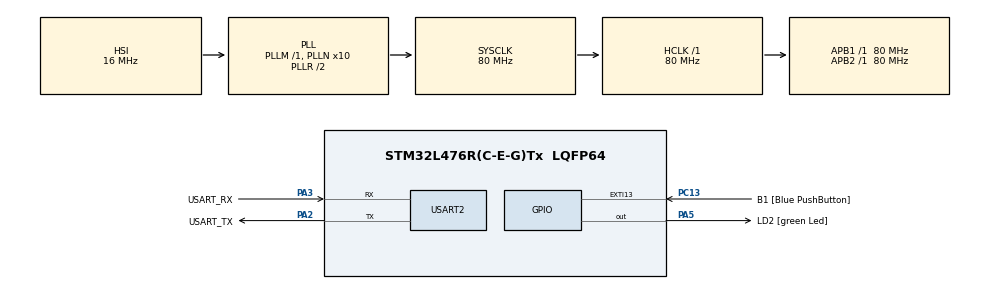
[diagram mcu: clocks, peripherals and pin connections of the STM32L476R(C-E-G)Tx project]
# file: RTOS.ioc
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FREERTOS.Tasks01=defaultTask,8,128,StartDefaultTask,Default,NULL,Dynamic,NULL,NULL;Blink1Task,24,128,Blink1,Default,NULL,Dynamic,NULL,NULL;TriggTask,40,128,Trigg,Default,NULL,Dynamic,NULL,NULL;UserbuttonTask,40,128,Userbutton,Default,NULL,Dynamic,NULL,NULL
FREERTOS.configTOTAL_HEAP_SIZE=4000
FREERTOS.configUSE_NEWLIB_REENTRANT=1
Mcu.Family=STM32L4
Mcu.Name=STM32L476R(C-E-G)Tx
Mcu.Package=LQFP64
NVIC.PriorityGroup=NVIC_PRIORITYGROUP_4
NVIC.TIM1_UP_TIM16_IRQn=true\:15\:0\:false\:false\:true\:false\:false\:true\:true
NVIC.TimeBase=TIM1_UP_TIM16_IRQn
NVIC.TimeBaseIP=TIM1
PA13\ (JTMS-SWDIO).GPIO_Label=TMS
PA13\ (JTMS-SWDIO).Mode=Serial_Wire
PA13\ (JTMS-SWDIO).Signal=SYS_JTMS-SWDIO
PA14\ (JTCK-SWCLK).GPIO_Label=TCK
PA14\ (JTCK-SWCLK).Mode=Serial_Wire
PA14\ (JTCK-SWCLK).Signal=SYS_JTCK-SWCLK
PA2.GPIO_Label=USART_TX
PA2.GPIO_Mode=GPIO_MODE_AF_PP
PA2.GPIO_PuPd=GPIO_NOPULL
PA2.GPIO_Speed=GPIO_SPEED_FREQ_VERY_HIGH
PA2.Mode=Asynchronous
PA2.Signal=USART2_TX
PA3.GPIO_Label=USART_RX
PA3.GPIO_Mode=GPIO_MODE_AF_PP
PA3.GPIO_PuPd=GPIO_NOPULL
PA3.GPIO_Speed=GPIO_SPEED_FREQ_VERY_HIGH
PA3.Mode=Asynchronous
PA3.Signal=USART2_RX
PA5.GPIO_Label=LD2 [green Led]
PA5.GPIO_ModeDefaultOutputPP=GPIO_MODE_OUTPUT_PP
PA5.GPIO_PuPd=GPIO_NOPULL
PA5.GPIO_Speed=GPIO_SPEED_FREQ_LOW
PA5.Signal=GPIO_Output
PB3\ (JTDO-TRACESWO).GPIO_Label=SWO
PB3\ (JTDO-TRACESWO).Signal=SYS_JTDO-SWO
PC13.GPIO_Label=B1 [Blue PushButton]
PC13.GPIO_ModeDefaultEXTI=GPIO_MODE_IT_FALLING
PC13.GPIO_PuPd=GPIO_NOPULL
PC13.Signal=GPXTI13
PC14-OSC32_IN\ (PC14).Mode=LSE-External-Oscillator
PC14-OSC32_IN\ (PC14).Signal=RCC_OSC32_IN
PC15-OSC32_OUT\ (PC15).Mode=LSE-External-Oscillator
PC15-OSC32_OUT\ (PC15).Signal=RCC_OSC32_OUT
PH0-OSC_IN\ (PH0).Signal=RCC_OSC_IN
PH1-OSC_OUT\ (PH1).Signal=RCC_OSC_OUT
ProjectManager.HeapSize=0x200
ProjectManager.StackSize=0x400
ProjectManager.TargetToolchain=STM32CubeIDE
RCC.ADCFreq_Value=64000000
RCC.AHBFreq_Value=80000000
RCC.APB1Freq_Value=80000000
RCC.APB1TimFreq_Value=80000000
RCC.APB2Freq_Value=80000000
RCC.APB2TimFreq_Value=80000000
RCC.CortexFreq_Value=80000000
RCC.HCLKFreq_Value=80000000
RCC.HSE_VALUE=8000000
RCC.HSI_VALUE=16000000
RCC.MSI_VALUE=4000000
RCC.PLLN=10
RCC.PLLSourceVirtual=RCC_PLLSOURCE_HSI
RCC.PREFETCH_ENABLE=1
RCC.SYSCLKFreq_VALUE=80000000
RCC.SYSCLKSource=RCC_SYSCLKSOURCE_PLLCLK
RCC.USBFreq_Value=64000000
RCC.VCOOutputFreq_Value=160000000
USART2.VirtualMode-Asynchronous=VM_ASYNC
VP_FREERTOS_VS_CMSIS_V2.Mode=CMSIS_V2
VP_SYS_VS_tim1.Mode=TIM1
board=NUCLEO-L476RG

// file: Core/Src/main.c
/* USER CODE BEGIN Header */
/**
  ******************************************************************************
  * @file           : main.c
  * @brief          : Main program body
  ******************************************************************************
  * @attention
  *
  * Copyright (c) 2023 STMicroelectronics.
  * All rights reserved.
  *
  * This software is licensed under terms that can be found in the LICENSE file
  * in the root directory of this software component.
  * If no LICENSE file comes with this software, it is provided AS-IS.
  *
  ******************************************************************************
  */
/* USER CODE END Header */
#include "main.h"
#include "cmsis_os.h"
#include "usart.h"
#include "gpio.h"

void SystemClock_Config(void);
void MX_FREERTOS_Init(void);

int main(void)
{

  /* MCU Configuration--------------------------------------------------------*/

  /* Reset of all peripherals, Initializes the Flash interface and the Systick. */
  HAL_Init();

  /* Configure the system clock */
  SystemClock_Config();

  /* Initialize all configured peripherals */
  MX_GPIO_Init();
  MX_USART2_UART_Init();

  /* Init scheduler */
  osKernelInitialize();  /* Call init function for freertos objects (in freertos.c) */
  MX_FREERTOS_Init();

  /* Start scheduler */
  osKernelStart();

  /* We should never get here as control is now taken by the scheduler */
  /* Infinite loop */
  while (1)
  {

  }
}

void SystemClock_Config(void)
{
  RCC_OscInitTypeDef RCC_OscInitStruct = {0};
  RCC_ClkInitTypeDef RCC_ClkInitStruct = {0};

  /** Configure the main internal regulator output voltage
  */
  if (HAL_PWREx_ControlVoltageScaling(PWR_REGULATOR_VOLTAGE_SCALE1) != HAL_OK)
  {
    Error_Handler();
  }

  /** Initializes the RCC Oscillators according to the specified parameters
  * in the RCC_OscInitTypeDef structure.
  */
  RCC_OscInitStruct.OscillatorType = RCC_OSCILLATORTYPE_HSI;
  RCC_OscInitStruct.HSIState = RCC_HSI_ON;
  RCC_OscInitStruct.HSICalibrationValue = RCC_HSICALIBRATION_DEFAULT;
  RCC_OscInitStruct.PLL.PLLState = RCC_PLL_ON;
  RCC_OscInitStruct.PLL.PLLSource = RCC_PLLSOURCE_HSI;
  RCC_OscInitStruct.PLL.PLLM = 1;
  RCC_OscInitStruct.PLL.PLLN = 10;
  RCC_OscInitStruct.PLL.PLLP = RCC_PLLP_DIV7;
  RCC_OscInitStruct.PLL.PLLQ = RCC_PLLQ_DIV2;
  RCC_OscInitStruct.PLL.PLLR = RCC_PLLR_DIV2;
  if (HAL_RCC_OscConfig(&RCC_OscInitStruct) != HAL_OK)
  {
    Error_Handler();
  }

  /** Initializes the CPU, AHB and APB buses clocks
  */
  RCC_ClkInitStruct.ClockType = RCC_CLOCKTYPE_HCLK|RCC_CLOCKTYPE_SYSCLK
                              |RCC_CLOCKTYPE_PCLK1|RCC_CLOCKTYPE_PCLK2;
  RCC_ClkInitStruct.SYSCLKSource = RCC_SYSCLKSOURCE_PLLCLK;
  RCC_ClkInitStruct.AHBCLKDivider = RCC_SYSCLK_DIV1;
  RCC_ClkInitStruct.APB1CLKDivider = RCC_HCLK_DIV1;
  RCC_ClkInitStruct.APB2CLKDivider = RCC_HCLK_DIV1;

  if (HAL_RCC_ClockConfig(&RCC_ClkInitStruct, FLASH_LATENCY_4) != HAL_OK)
  {
    Error_Handler();
  }
}

void HAL_TIM_PeriodElapsedCallback(TIM_HandleTypeDef *htim)
{
  if (htim->Instance == TIM1) {
    HAL_IncTick();
  }
}

void Error_Handler(void)
{
  __disable_irq();
  while (1)
  {
  }
}

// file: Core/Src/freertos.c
/* USER CODE BEGIN Header */
/**
  ******************************************************************************
  * File Name          : freertos.c
  * Description        : Code for freertos applications
  ******************************************************************************
  * @attention
  *
  * Copyright (c) 2023 STMicroelectronics.
  * All rights reserved.
  *
  * This software is licensed under terms that can be found in the LICENSE file
  * in the root directory of this software component.
  * If no LICENSE file comes with this software, it is provided AS-IS.
  *
  ******************************************************************************
  */
/* USER CODE END Header */

#include "FreeRTOS.h"
#include "task.h"
#include "main.h"
#include "cmsis_os.h"

/* USER CODE BEGIN Variables */

uint8_t varBlink1 = 0;
uint8_t varBlink2 = 0;
uint8_t varBlink3 = 0;

/* USER CODE END Variables */
/* Definitions for defaultTask */
osThreadId_t defaultTaskHandle;
const osThreadAttr_t defaultTask_attributes = {
  .name = "defaultTask",
  .stack_size = 128 * 4,
  .priority = (osPriority_t) osPriorityLow,
};
/* Definitions for Blink1Task */
osThreadId_t Blink1TaskHandle;
const osThreadAttr_t Blink1Task_attributes = {
  .name = "Blink1Task",
  .stack_size = 128 * 4,
  .priority = (osPriority_t) osPriorityNormal,
};
/* Definitions for TriggTask */
osThreadId_t TriggTaskHandle;
const osThreadAttr_t TriggTask_attributes = {
  .name = "TriggTask",
  .stack_size = 128 * 4,
  .priority = (osPriority_t) osPriorityHigh,
};
/* Definitions for UserbuttonTask */
osThreadId_t UserbuttonTaskHandle;
const osThreadAttr_t UserbuttonTask_attributes = {
  .name = "UserbuttonTask",
  .stack_size = 128 * 4,
  .priority = (osPriority_t) osPriorityHigh,
};

/* USER CODE BEGIN FunctionPrototypes */
void wait_cycles( uint32_t n );
/* USER CODE END FunctionPrototypes */

void StartDefaultTask(void *argument);
void Blink1(void *argument);
void Trigg(void *argument);
void Userbutton(void *argument);

void MX_FREERTOS_Init(void); /* (MISRA C 2004 rule 8.1) */

void MX_FREERTOS_Init(void) {

  /* Create the thread(s) */
  /* creation of defaultTask */
  defaultTaskHandle = osThreadNew(StartDefaultTask, NULL, &defaultTask_attributes);

  /* creation of Blink1Task */
  Blink1TaskHandle = osThreadNew(Blink1, NULL, &Blink1Task_attributes);

  /* creation of TriggTask */
  TriggTaskHandle = osThreadNew(Trigg, NULL, &TriggTask_attributes);

  /* creation of UserbuttonTask */
  UserbuttonTaskHandle = osThreadNew(Userbutton, NULL, &UserbuttonTask_attributes);

}

void StartDefaultTask(void *argument)
{
  for(;;)
  {
    osDelay(1);
  }
}

void Blink1(void *argument)
{
  /* USER CODE BEGIN Blink1 */
	TickType_t xLastWakeTime;
	const TickType_t xPeriod = pdMS_TO_TICKS(100) ; // ms to ticks
	// Initialise the xLastWakeTime variable with the current time.
	xLastWakeTime = xTaskGetTickCount();
	/* Infinite loop */
	for(;;)
	{
		if(varBlink1 == 1)
		{
			HAL_GPIO_WritePin(LD2_GPIO_Port, LD2_Pin, GPIO_PIN_SET);
			varBlink1 = 0;
		}
		else
		{
			HAL_GPIO_WritePin(LD2_GPIO_Port, LD2_Pin, GPIO_PIN_RESET);
			varBlink1 = 1;
		}
		vTaskDelayUntil( &xLastWakeTime, xPeriod );
	}
  /* USER CODE END Blink1 */
}

void Trigg(void *argument)
{
  /* USER CODE BEGIN Trigg */
	TickType_t xLastWakeTime;
	const TickType_t xPeriod = pdMS_TO_TICKS(200) ; // ms to ticks
	// Initialise the xLastWakeTime variable with the current time.
	xLastWakeTime = xTaskGetTickCount();
	/* Infinite loop */

	for(;;)
	{
		vTaskDelayUntil( &xLastWakeTime, xPeriod );
		wait_cycles(10); //add a breakpoint in this line
	}
  /* USER CODE END Trigg */
}

void Userbutton(void *argument)
{
  /* USER CODE BEGIN Userbutton */
	TickType_t xLastWakeTime;
	const TickType_t xPeriod = pdMS_TO_TICKS(20);
	// Initialise the xLastWakeTime variable with the current time.
	xLastWakeTime = xTaskGetTickCount();
	/* Infinite loop */
	for (;;) {
		if (HAL_GPIO_ReadPin(B1_GPIO_Port, B1_Pin) == GPIO_PIN_RESET)
		{
			vTaskSuspend(Blink1TaskHandle);
			HAL_GPIO_WritePin(LD2_GPIO_Port, LD2_Pin, GPIO_PIN_RESET);
		}
		else
		{
			vTaskResume(Blink1TaskHandle);
		}
		vTaskDelayUntil(&xLastWakeTime, xPeriod);
	}
  /* USER CODE END Userbutton */
}

/* USER CODE BEGIN Application */
void wait_cycles( uint32_t n ) {
 uint32_t l = n/3; //cycles per loop is 3
 asm volatile( "0:" "SUBS %[count], 1;" "BNE 0b;" :[count]"+r"(l) );
}
/* USER CODE END Application */
